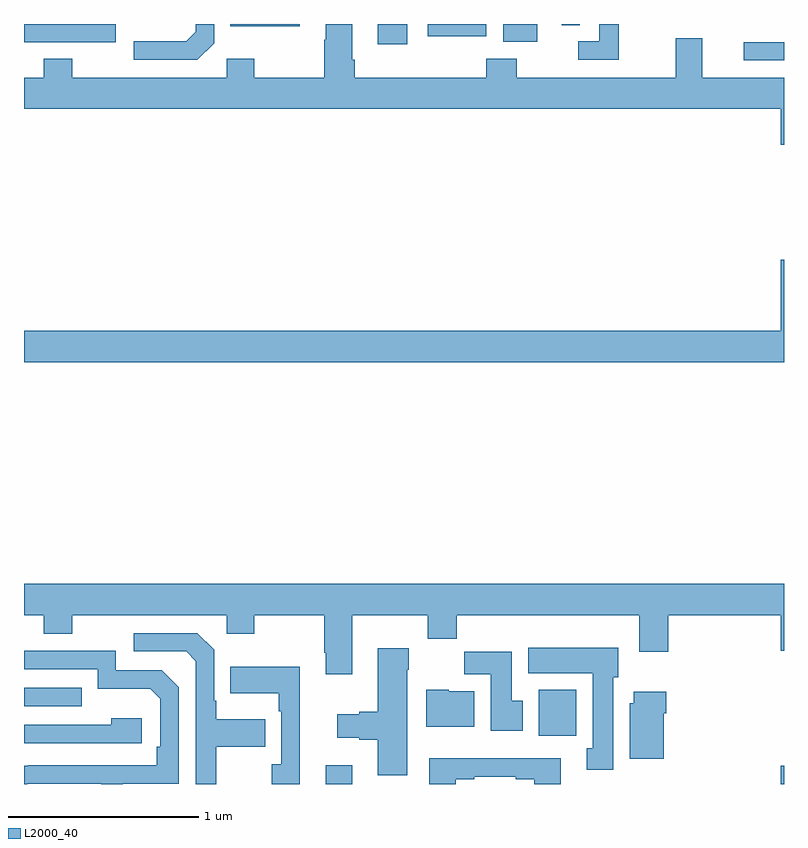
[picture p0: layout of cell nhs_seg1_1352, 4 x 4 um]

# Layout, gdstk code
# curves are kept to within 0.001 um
import gdstk
lib = gdstk.Library(unit=1e-6, precision=1e-09)
def R(c, l, rs):  # rectangles x0, y0, x1, y1
    for r in rs: c.add(gdstk.rectangle(r[:2], r[2:], *l))
def P(c, l, *ps):  # polygons
    for p in ps: c.add(gdstk.Polygon(p, *l))
L2000_40 = (2000, 40)

nhs_seg1_1352 = lib.new_cell('nhs_seg1_1352')
R(nhs_seg1_1352, L2000_40, [(186.587,528.199,186.727,528.298), (188.984,528.199,189,528.295), (187.709,528.452,187.906,528.694), (185,528.609,185.303,528.705), (188.787,532.008,189,532.104), (186.863,532.092,187.018,532.199), (185,532.104,185.484,532.199), (187.523,532.106,187.702,532.199), (187.125,532.135,187.434,532.199), (186.085,532.187,186.452,532.199), (187.83,532.192,187.926,532.199)])
P(nhs_seg1_1352, L2000_40, [(188.984,531.564),(189,531.564),(189,531.916),(188.569,531.916),(188.569,532.124),(188.429,532.124),(188.429,531.916),(187.593,531.916),(187.593,532.015),(187.433,532.015),(187.433,531.916),(186.74,531.916),(186.74,532.012),(186.727,532.012),(186.727,532.199),(186.587,532.199),(186.587,532.115),(186.58,532.115),(186.58,531.916),(186.213,531.916),(186.213,532.015),(186.066,532.015),(186.066,531.916),(185.253,531.916),(185.253,532.015),(185.105,532.015),(185.105,531.916),(185,531.916),(185,531.752),(188.984,531.752)],
  [(188.131,532.199),(188.027,532.199),(188.027,532.107),(187.917,532.107),(187.917,532.011),(188.131,532.011)],
  [(186,532.098),(186,532.199),(185.904,532.199),(185.904,532.158),(185.853,532.107),(185.577,532.107),(185.577,532.011),(185.913,532.011)],
  [(189,530.959),(188.984,530.959),(188.984,530.584),(185,530.584),(185,530.42),(189,530.42)],
  [(186.727,529.088),(187.126,529.088),(187.126,528.964),(187.277,528.964),(187.277,529.088),(188.237,529.088),(188.237,528.894),(188.39,528.894),(188.39,529.088),(188.984,529.088),(188.984,528.9),(189,528.9),(189,529.252),(185,529.252),(185,529.088),(185.105,529.088),(185.105,528.989),(185.253,528.989),(185.253,529.088),(186.066,529.088),(186.066,528.989),(186.213,528.989),(186.213,529.088),(186.58,529.088),(186.58,528.889),(186.587,528.889),(186.587,528.777),(186.727,528.777)],
  [(186.013,528.394),(186.269,528.394),(186.269,528.541),(186.013,528.541),(186.013,528.637),(186,528.637),(186,528.906),(185.913,528.993),(185.577,528.993),(185.577,528.897),(185.853,528.897),(185.904,528.846),(185.904,528.199),(186.013,528.199)],
  [(188.101,528.762),(188.128,528.762),(188.128,528.916),(187.655,528.916),(187.655,528.782),(187.994,528.782),(187.994,528.386),(187.961,528.386),(187.961,528.273),(188.101,528.273)],
  [(187.018,528.8),(187.026,528.8),(187.026,528.913),(186.863,528.913),(186.863,528.578),(186.764,528.578),(186.764,528.565),(186.648,528.565),(186.648,528.443),(186.764,528.443),(186.764,528.431),(186.863,528.431),(186.863,528.246),(187.018,528.246)],
  [(185.017,528.201),(185.407,528.201),(185.407,528.199),(185.519,528.199),(185.519,528.201),(185.814,528.201),(185.814,528.708),(185.724,528.798),(185.484,528.798),(185.484,528.9),(185,528.9),(185,528.804),(185.388,528.804),(185.388,528.701),(185.665,528.701),(185.718,528.648),(185.718,528.394),(185.698,528.394),(185.698,528.297),(185,528.296),(185,528.199),(185.017,528.199)],
  [(187.624,528.636),(187.567,528.636),(187.567,528.895),(187.318,528.895),(187.318,528.776),(187.457,528.776),(187.457,528.48),(187.624,528.48)],
  [(186.452,528.817),(186.085,528.817),(186.085,528.677),(186.342,528.677),(186.342,528.581),(186.354,528.581),(186.354,528.302),(186.303,528.302),(186.303,528.199),(186.452,528.199)],
  [(187.369,528.688),(187.236,528.688),(187.236,528.694),(187.118,528.694),(187.118,528.5),(187.369,528.5)],
  [(188.368,528.572),(188.381,528.572),(188.381,528.685),(188.21,528.685),(188.21,528.624),(188.189,528.624),(188.189,528.332),(188.368,528.332)],
  [(185.62,528.544),(185.459,528.544),(185.459,528.51),(185,528.51),(185,528.414),(185.62,528.414)],
  [(187.273,528.225),(187.369,528.225),(187.369,528.237),(187.589,528.237),(187.589,528.225),(187.685,528.225),(187.685,528.199),(187.825,528.199),(187.825,528.334),(187.133,528.334),(187.133,528.199),(187.273,528.199)])

lib.write_gds('nhs_seg1_1352.gds')
